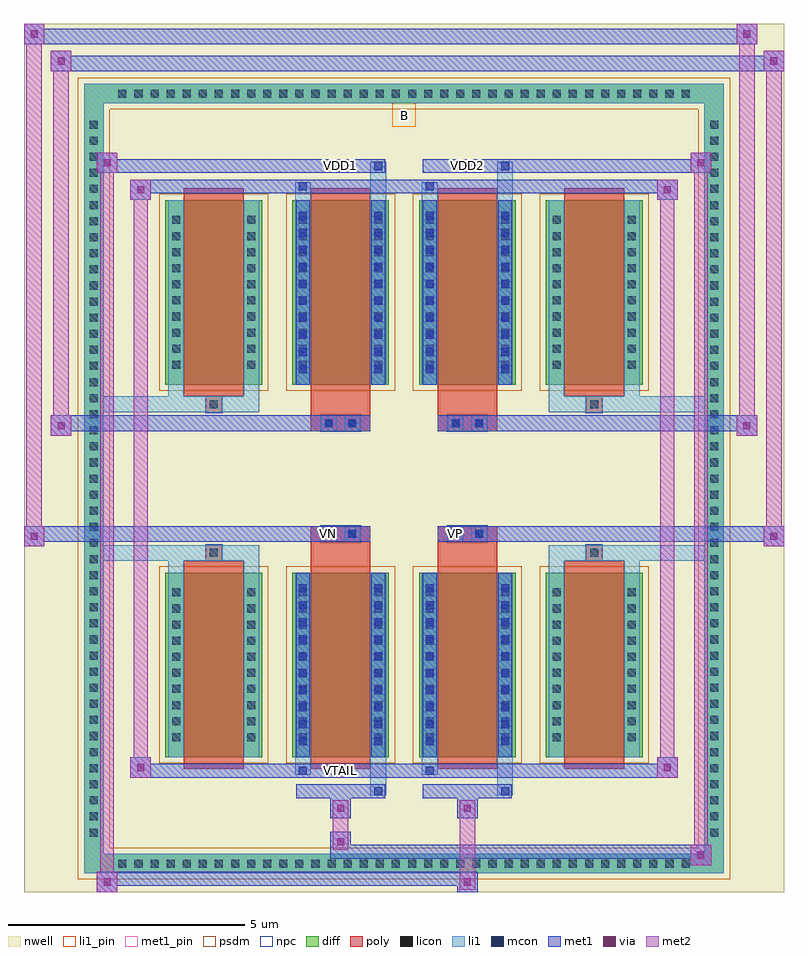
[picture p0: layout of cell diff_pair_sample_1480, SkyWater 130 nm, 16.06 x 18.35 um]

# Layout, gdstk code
import gdstk
lib = gdstk.Library(unit=1e-6, precision=5e-09)
def R(c, l, rs):  # rectangles x0, y0, x1, y1
    for r in rs: c.add(gdstk.rectangle(r[:2], r[2:], *l))
def A(c, l, x, y, w, h, nx, ny, dx, dy):  # array of equal rectangles
    R(c, l, [(x+i*dx, y+j*dy, x+i*dx+w, y+j*dy+h) for i in range(nx) for j in range(ny)])
def P(c, l, *ps):  # polygons
    for p in ps: c.add(gdstk.Polygon(p, *l))
nwell = (64, 20)
diff = (65, 20)
poly = (66, 20)
licon = (66, 44)
li1_pin = (67, 16)
li1 = (67, 20)
mcon = (67, 44)
met1_pin = (68, 16)
met1 = (68, 20)
via = (68, 44)
met2 = (69, 20)
psdm = (94, 20)
npc = (95, 20)

diff_pair_sample_1480 = lib.new_cell('diff_pair_sample_1480')
R(diff_pair_sample_1480, nwell, [(-8.03,-8.74,8.03,9.61), (-5.35,-6.93,-0.01,-0.805), (0.01,-6.93,5.35,-0.805), (-5.35,0.805,-0.01,6.93), (0.01,0.805,5.35,6.93)])
A(diff_pair_sample_1480, diff, -6.155, -8.34, 0.41, 0.41, 36, 2, 0.34, 16.27)
A(diff_pair_sample_1480, diff, -6.76, -7.685, 0.41, 0.41, 1, 45, 0, 0.34)
A(diff_pair_sample_1480, diff, 6.35, -7.685, 0.41, 0.41, 1, 45, 0, 0.34)
A(diff_pair_sample_1480, diff, -5.04, -5.885, 2.04, 3.9, 4, 2, 2.68, 7.87)
R(diff_pair_sample_1480, diff, [(-6.155,-8.34,6.155,-7.93), (-6.76,-7.685,-6.35,7.685), (6.35,-7.685,6.76,7.685), (-6.155,7.93,6.155,8.34)])
P(diff_pair_sample_1480, diff, [(6.76,8.34),(-6.76,8.34),(-6.76,-7.93),(-6.35,-7.93),(-6.35,7.93),(6.35,7.93),(6.35,-7.93),(-6.35,-7.93),(-6.76,-7.93),(-6.76,-8.34),(6.76,-8.34)])
A(diff_pair_sample_1480, poly, -4.65, -6.135, 1.26, 4.4, 4, 2, 2.68, 7.87)
R(diff_pair_sample_1480, poly, [(-4.185,-1.735,-3.855,-1.405), (-4.185,-1.735,-3.855,-1.405), (-1.97,-1.735,-0.71,-1.335), (0.71,-1.735,1.97,-1.335), (3.855,-1.735,4.185,-1.405), (3.855,-1.735,4.185,-1.405), (-1.97,-1.335,-0.71,-1.005), (-1.755,-1.335,-1.425,-1.005), (-1.255,-1.335,-0.925,-1.005), (0.71,-1.335,1.97,-1.005), (0.925,-1.335,1.255,-1.005), (1.425,-1.335,1.755,-1.005), (-1.97,1.005,-0.71,1.335), (-1.755,1.005,-1.425,1.335), (-1.255,1.005,-0.925,1.335), (0.71,1.005,1.97,1.335), (0.925,1.005,1.255,1.335), (1.425,1.005,1.755,1.335), (-1.97,1.335,-0.71,1.735), (0.71,1.335,1.97,1.735), (-4.185,1.405,-3.855,1.735), (-4.185,1.405,-3.855,1.735), (3.855,1.405,4.185,1.735), (3.855,1.405,4.185,1.735)])
A(diff_pair_sample_1480, licon, -6.035, -8.22, 0.17, 0.17, 36, 2, 0.34, 16.27)
A(diff_pair_sample_1480, licon, -6.64, -7.565, 0.17, 0.17, 1, 45, 0, 0.34)
A(diff_pair_sample_1480, licon, 6.47, -7.565, 0.17, 0.17, 1, 45, 0, 0.34)
A(diff_pair_sample_1480, licon, -4.9, -5.55, 0.17, 0.17, 1, 10, 0, 0.34)
A(diff_pair_sample_1480, licon, -3.31, -5.55, 0.17, 0.17, 1, 10, 0, 0.34)
A(diff_pair_sample_1480, licon, -2.22, -5.55, 0.17, 0.17, 1, 10, 0, 0.34)
A(diff_pair_sample_1480, licon, -0.63, -5.55, 0.17, 0.17, 1, 10, 0, 0.34)
A(diff_pair_sample_1480, licon, 0.46, -5.55, 0.17, 0.17, 1, 10, 0, 0.34)
A(diff_pair_sample_1480, licon, 2.05, -5.55, 0.17, 0.17, 1, 10, 0, 0.34)
A(diff_pair_sample_1480, licon, 3.14, -5.55, 0.17, 0.17, 1, 10, 0, 0.34)
A(diff_pair_sample_1480, licon, 4.73, -5.55, 0.17, 0.17, 1, 10, 0, 0.34)
A(diff_pair_sample_1480, licon, -4.9, 2.32, 0.17, 0.17, 1, 10, 0, 0.34)
A(diff_pair_sample_1480, licon, -3.31, 2.32, 0.17, 0.17, 1, 10, 0, 0.34)
A(diff_pair_sample_1480, licon, -2.22, 2.32, 0.17, 0.17, 1, 10, 0, 0.34)
A(diff_pair_sample_1480, licon, -0.63, 2.32, 0.17, 0.17, 1, 10, 0, 0.34)
A(diff_pair_sample_1480, licon, 0.46, 2.32, 0.17, 0.17, 1, 10, 0, 0.34)
A(diff_pair_sample_1480, licon, 2.05, 2.32, 0.17, 0.17, 1, 10, 0, 0.34)
A(diff_pair_sample_1480, licon, 3.14, 2.32, 0.17, 0.17, 1, 10, 0, 0.34)
A(diff_pair_sample_1480, licon, 4.73, 2.32, 0.17, 0.17, 1, 10, 0, 0.34)
R(diff_pair_sample_1480, licon, [(-4.105,-1.655,-3.935,-1.485), (3.935,-1.655,4.105,-1.485), (-1.675,-1.255,-1.505,-1.085), (-1.175,-1.255,-1.005,-1.085), (1.005,-1.255,1.175,-1.085), (1.505,-1.255,1.675,-1.085), (-1.675,1.085,-1.505,1.255), (-1.175,1.085,-1.005,1.255), (1.005,1.085,1.175,1.255), (1.505,1.085,1.675,1.255), (-4.105,1.485,-3.935,1.655), (3.935,1.485,4.105,1.655)])
R(diff_pair_sample_1480, li1_pin, [(-0.25,7.43,0.25,7.93)])
A(diff_pair_sample_1480, li1, -6.115, -8.3, 0.33, 0.33, 36, 2, 0.34, 16.27)
A(diff_pair_sample_1480, li1, -6.72, -7.645, 0.33, 0.33, 1, 45, 0, 0.34)
A(diff_pair_sample_1480, li1, 6.39, -7.645, 0.33, 0.33, 1, 45, 0, 0.34)
A(diff_pair_sample_1480, li1, -2.22, -5.64, 0.17, 0.17, 1, 10, 0, 0.36)
A(diff_pair_sample_1480, li1, -0.63, -5.64, 0.17, 0.17, 1, 10, 0, 0.36)
A(diff_pair_sample_1480, li1, 0.46, -5.64, 0.17, 0.17, 1, 10, 0, 0.36)
A(diff_pair_sample_1480, li1, 2.05, -5.64, 0.17, 0.17, 1, 10, 0, 0.36)
A(diff_pair_sample_1480, li1, -4.98, -5.63, 0.33, 0.33, 1, 10, 0, 0.34)
A(diff_pair_sample_1480, li1, -3.39, -5.63, 0.33, 0.33, 1, 10, 0, 0.34)
A(diff_pair_sample_1480, li1, -2.3, -5.63, 0.33, 0.33, 1, 10, 0, 0.34)
A(diff_pair_sample_1480, li1, -0.71, -5.63, 0.33, 0.33, 1, 10, 0, 0.34)
A(diff_pair_sample_1480, li1, 0.38, -5.63, 0.33, 0.33, 1, 10, 0, 0.34)
A(diff_pair_sample_1480, li1, 1.97, -5.63, 0.33, 0.33, 1, 10, 0, 0.34)
A(diff_pair_sample_1480, li1, 3.06, -5.63, 0.33, 0.33, 1, 10, 0, 0.34)
A(diff_pair_sample_1480, li1, 4.65, -5.63, 0.33, 0.33, 1, 10, 0, 0.34)
A(diff_pair_sample_1480, li1, -2.22, 2.23, 0.17, 0.17, 1, 10, 0, 0.36)
A(diff_pair_sample_1480, li1, -0.63, 2.23, 0.17, 0.17, 1, 10, 0, 0.36)
A(diff_pair_sample_1480, li1, 0.46, 2.23, 0.17, 0.17, 1, 10, 0, 0.36)
A(diff_pair_sample_1480, li1, 2.05, 2.23, 0.17, 0.17, 1, 10, 0, 0.36)
A(diff_pair_sample_1480, li1, -4.98, 2.24, 0.33, 0.33, 1, 10, 0, 0.34)
A(diff_pair_sample_1480, li1, -3.39, 2.24, 0.33, 0.33, 1, 10, 0, 0.34)
A(diff_pair_sample_1480, li1, -2.3, 2.24, 0.33, 0.33, 1, 10, 0, 0.34)
A(diff_pair_sample_1480, li1, -0.71, 2.24, 0.33, 0.33, 1, 10, 0, 0.34)
A(diff_pair_sample_1480, li1, 0.38, 2.24, 0.33, 0.33, 1, 10, 0, 0.34)
A(diff_pair_sample_1480, li1, 1.97, 2.24, 0.33, 0.33, 1, 10, 0, 0.34)
A(diff_pair_sample_1480, li1, 3.06, 2.24, 0.33, 0.33, 1, 10, 0, 0.34)
A(diff_pair_sample_1480, li1, 4.65, 2.24, 0.33, 0.33, 1, 10, 0, 0.34)
R(diff_pair_sample_1480, li1, [(-6.76,-8.34,-6.35,-7.93), (-6.76,-8.34,-6.35,-7.93), (-6.35,-8.34,6.35,-7.93), (6.35,-8.34,6.76,-7.93), (6.35,-8.34,6.76,-7.93), (-6.76,-7.93,-6.35,7.93), (6.35,-7.93,6.76,7.93), (-0.71,-6.69,-0.38,-5.885), (-0.63,-6.69,-0.46,-6.52), (1.97,-6.69,2.3,-5.885), (2.05,-6.69,2.22,-6.52), (-2.3,-6.26,-1.97,-5.885), (-2.22,-6.26,-2.05,-6.09), (0.38,-6.26,0.71,-5.885), (0.46,-6.26,0.63,-6.09), (-4.98,-5.885,-4.65,-1.985), (-3.39,-5.885,-3.06,-1.985), (-2.3,-5.885,-1.97,-1.985), (-0.71,-5.885,-0.38,-1.985), (0.38,-5.885,0.71,-1.985), (1.97,-5.885,2.3,-1.985), (3.06,-5.885,3.39,-1.985), (4.65,-5.885,4.98,-1.985), (-2.22,-5.64,-2.05,-2.23), (-0.63,-5.64,-0.46,-2.23), (0.46,-5.64,0.63,-2.23), (2.05,-5.64,2.22,-2.23), (-4.98,-1.985,-4.65,-1.405), (-3.39,-1.985,-3.06,-1.405), (3.06,-1.985,3.39,-1.405), (4.65,-1.985,4.98,-1.405), (-6.76,-1.735,-4.185,-1.405), (-4.98,-1.735,-4.185,-1.405), (-4.185,-1.735,-3.855,-1.405), (-3.855,-1.735,-3.06,-1.405), (3.06,-1.735,3.855,-1.405), (3.855,-1.735,4.185,-1.405), (3.855,-1.735,6.76,-1.405), (4.185,-1.735,4.98,-1.405), (-1.755,-1.335,-1.425,-1.005), (-1.255,-1.335,-0.925,-1.005), (0.925,-1.335,1.255,-1.005), (1.425,-1.335,1.755,-1.005), (-1.755,1.005,-1.425,1.335), (-1.255,1.005,-0.925,1.335), (0.925,1.005,1.255,1.335), (1.425,1.005,1.755,1.335), (-6.76,1.405,-4.185,1.735), (-4.98,1.405,-4.185,1.735), (-4.98,1.405,-4.65,1.985), (-4.185,1.405,-3.855,1.735), (-3.855,1.405,-3.06,1.735), (-3.39,1.405,-3.06,1.985), (3.06,1.405,3.855,1.735), (3.06,1.405,3.39,1.985), (3.855,1.405,4.185,1.735), (3.855,1.405,6.76,1.735), (4.185,1.405,4.98,1.735), (4.65,1.405,4.98,1.985), (-4.98,1.985,-4.65,5.885), (-3.39,1.985,-3.06,5.885), (-2.3,1.985,-1.97,5.885), (-0.71,1.985,-0.38,5.885), (0.38,1.985,0.71,5.885), (1.97,1.985,2.3,5.885), (3.06,1.985,3.39,5.885), (4.65,1.985,4.98,5.885), (-2.22,2.23,-2.05,5.64), (-0.63,2.23,-0.46,5.64), (0.46,2.23,0.63,5.64), (2.05,2.23,2.22,5.64), (-2.3,5.885,-1.97,6.26), (-0.71,5.885,-0.38,6.69), (0.38,5.885,0.71,6.26), (1.97,5.885,2.3,6.69), (-2.22,6.09,-2.05,6.26), (0.46,6.09,0.63,6.26), (-0.63,6.52,-0.46,6.69), (2.05,6.52,2.22,6.69), (-6.76,7.93,-6.35,8.34), (-6.76,7.93,-6.35,8.34), (-6.35,7.93,6.35,8.34), (6.35,7.93,6.76,8.34), (6.35,7.93,6.76,8.34)])
A(diff_pair_sample_1480, mcon, -2.22, -5.64, 0.17, 0.17, 1, 10, 0, 0.36)
A(diff_pair_sample_1480, mcon, -0.63, -5.64, 0.17, 0.17, 1, 10, 0, 0.36)
A(diff_pair_sample_1480, mcon, 0.46, -5.64, 0.17, 0.17, 1, 10, 0, 0.36)
A(diff_pair_sample_1480, mcon, 2.05, -5.64, 0.17, 0.17, 1, 10, 0, 0.36)
A(diff_pair_sample_1480, mcon, -2.22, 2.23, 0.17, 0.17, 1, 10, 0, 0.36)
A(diff_pair_sample_1480, mcon, -0.63, 2.23, 0.17, 0.17, 1, 10, 0, 0.36)
A(diff_pair_sample_1480, mcon, 0.46, 2.23, 0.17, 0.17, 1, 10, 0, 0.36)
A(diff_pair_sample_1480, mcon, 2.05, 2.23, 0.17, 0.17, 1, 10, 0, 0.36)
R(diff_pair_sample_1480, mcon, [(-0.63,-6.69,-0.46,-6.52), (2.05,-6.69,2.22,-6.52), (-2.22,-6.26,-2.05,-6.09), (0.46,-6.26,0.63,-6.09), (-1.675,-1.255,-1.505,-1.085), (-1.175,-1.255,-1.005,-1.085), (1.005,-1.255,1.175,-1.085), (1.505,-1.255,1.675,-1.085), (-1.675,1.085,-1.505,1.255), (-1.175,1.085,-1.005,1.255), (1.005,1.085,1.175,1.255), (1.505,1.085,1.675,1.255), (-2.22,6.09,-2.05,6.26), (0.46,6.09,0.63,6.26), (-0.63,6.52,-0.46,6.69), (2.05,6.52,2.22,6.69)])
R(diff_pair_sample_1480, met1_pin, [(-1.475,-6.3,-1.205,-6.03), (-1.725,-1.295,-1.455,-1.025), (0.955,-1.295,1.225,-1.025), (-1.475,6.48,-1.205,6.75), (1.205,6.48,1.475,6.75)])
A(diff_pair_sample_1480, met1, -2.28, -5.7, 0.29, 0.29, 1, 10, 0, 0.36)
A(diff_pair_sample_1480, met1, -0.69, -5.7, 0.29, 0.29, 1, 10, 0, 0.36)
A(diff_pair_sample_1480, met1, 0.4, -5.7, 0.29, 0.29, 1, 10, 0, 0.36)
A(diff_pair_sample_1480, met1, 1.99, -5.7, 0.29, 0.29, 1, 10, 0, 0.36)
A(diff_pair_sample_1480, met1, -2.28, 2.17, 0.29, 0.29, 1, 10, 0, 0.36)
A(diff_pair_sample_1480, met1, -0.69, 2.17, 0.29, 0.29, 1, 10, 0, 0.36)
A(diff_pair_sample_1480, met1, 0.4, 2.17, 0.29, 0.29, 1, 10, 0, 0.36)
A(diff_pair_sample_1480, met1, 1.99, 2.17, 0.29, 0.29, 1, 10, 0, 0.36)
R(diff_pair_sample_1480, met1, [(-6.49,-8.74,-6.06,-8.31), (1.125,-8.74,1.555,-8.31), (-6.49,-8.6,1.555,-8.31), (6.06,-8.17,6.49,-7.74), (-1.555,-8.03,6.49,-7.74), (-1.555,-7.89,-1.125,-7.46), (-1.555,-7.18,-1.125,-6.75), (1.125,-7.18,1.555,-6.75), (-2.28,-6.75,-0.4,-6.46), (-0.69,-6.75,-0.4,-6.46), (0.4,-6.75,2.28,-6.46), (1.99,-6.75,2.28,-6.46), (-5.78,-6.32,-5.35,-5.89), (-5.78,-6.32,-2.28,-6.03), (-2.28,-6.32,-1.99,-6.03), (-2.28,-6.32,-0.4,-6.03), (-0.4,-6.32,0.4,-6.03), (0.4,-6.32,0.69,-6.03), (0.4,-6.32,2.28,-6.03), (2.28,-6.32,5.78,-6.03), (5.35,-6.32,5.78,-5.89), (-2.28,-5.885,-1.99,-1.985), (-0.69,-5.885,-0.4,-1.985), (0.4,-5.885,0.69,-1.985), (1.99,-5.885,2.28,-1.985), (-8.03,-1.435,-7.6,-1.005), (7.6,-1.435,8.03,-1.005), (-8.03,-1.335,-0.71,-1.005), (-1.97,-1.335,-0.71,-1.005), (0.71,-1.335,1.97,-1.005), (0.71,-1.335,8.03,-1.005), (-1.735,-1.315,-1.445,-1.025), (-1.235,-1.315,-0.945,-1.025), (0.945,-1.315,1.235,-1.025), (1.445,-1.315,1.735,-1.025), (-7.46,0.905,-7.03,1.335), (7.03,0.905,7.46,1.335), (-7.46,1.005,-1.97,1.335), (-1.97,1.005,-0.71,1.335), (0.71,1.005,1.97,1.335), (1.97,1.005,7.46,1.335), (-1.735,1.025,-1.445,1.315), (-1.235,1.025,-0.945,1.315), (0.945,1.025,1.235,1.315), (1.445,1.025,1.735,1.315), (-2.28,1.985,-1.99,5.885), (-0.69,1.985,-0.4,5.885), (0.4,1.985,0.69,5.885), (1.99,1.985,2.28,5.885), (-5.78,5.89,-5.35,6.32), (5.35,5.89,5.78,6.32), (-5.78,6.03,-2.28,6.32), (-2.28,6.03,-1.99,6.32), (-2.28,6.03,-0.4,6.32), (-0.4,6.03,0.4,6.32), (0.4,6.03,0.69,6.32), (0.4,6.03,2.28,6.32), (2.28,6.03,5.78,6.32), (-6.49,6.46,-6.06,6.89), (-6.49,6.46,-2.28,6.75), (-2.28,6.46,-0.4,6.75), (-0.69,6.46,-0.4,6.75), (0.4,6.46,2.28,6.75), (1.99,6.46,2.28,6.75), (2.28,6.46,6.49,6.75), (6.06,6.46,6.49,6.89), (-7.46,8.61,-7.03,9.04), (-7.46,8.61,-5.35,8.94), (-5.35,8.61,5.35,8.94), (5.35,8.61,8.03,8.94), (7.6,8.61,8.03,9.04), (-8.03,9.18,-7.6,9.61), (-8.03,9.18,-5.35,9.51), (-5.35,9.18,5.35,9.51), (5.35,9.18,7.46,9.51), (7.03,9.18,7.46,9.61)])
R(diff_pair_sample_1480, via, [(-6.35,-8.6,-6.2,-8.45), (1.265,-8.6,1.415,-8.45), (6.2,-8.03,6.35,-7.88), (-1.415,-7.75,-1.265,-7.6), (-1.415,-7.04,-1.265,-6.89), (1.265,-7.04,1.415,-6.89), (-5.64,-6.18,-5.49,-6.03), (5.49,-6.18,5.64,-6.03), (-7.89,-1.295,-7.74,-1.145), (7.74,-1.295,7.89,-1.145), (-7.32,1.045,-7.17,1.195), (7.17,1.045,7.32,1.195), (-5.64,6.03,-5.49,6.18), (5.49,6.03,5.64,6.18), (-6.35,6.6,-6.2,6.75), (6.2,6.6,6.35,6.75), (-7.32,8.75,-7.17,8.9), (7.74,8.75,7.89,8.9), (-7.89,9.32,-7.74,9.47), (7.17,9.32,7.32,9.47)])
R(diff_pair_sample_1480, met2, [(-6.49,-8.74,-6.06,-8.31), (-6.42,-8.74,-6.13,6.89), (-6.13,-8.74,-6.06,-8.31), (-6.44,-8.69,-6.11,-8.36), (1.175,-8.69,1.505,-8.36), (1.175,-8.36,1.505,-7.13), (6.06,-8.17,6.49,-7.74), (6.13,-8.17,6.42,6.89), (6.42,-8.17,6.49,-7.74), (6.11,-8.12,6.44,-7.79), (-1.505,-7.84,-1.175,-7.51), (-1.505,-7.51,-1.175,-7.13), (-1.505,-7.13,-1.175,-6.8), (1.175,-7.13,1.505,-6.8), (-5.78,-6.32,-5.35,-5.89), (-5.71,-6.32,-5.42,6.32), (-5.42,-6.32,-5.35,-5.89), (5.35,-6.32,5.78,-5.89), (5.42,-6.32,5.71,6.32), (5.71,-6.32,5.78,-5.89), (-5.73,-6.27,-5.4,-5.94), (5.4,-6.27,5.73,-5.94), (-8.03,-1.435,-7.6,-1.005), (-7.98,-1.435,-7.65,9.61), (-7.65,-1.435,-7.6,-1.005), (7.6,-1.435,8.03,-1.005), (7.65,-1.435,7.98,9.04), (7.98,-1.435,8.03,-1.005), (-7.98,-1.385,-7.65,-1.055), (7.65,-1.385,7.98,-1.055), (-7.46,0.905,-7.03,1.335), (-7.41,0.905,-7.08,9.04), (-7.08,0.905,-7.03,1.335), (7.03,0.905,7.46,1.335), (7.08,0.905,7.41,9.61), (7.41,0.905,7.46,1.335), (-7.41,0.955,-7.08,1.285), (7.08,0.955,7.41,1.285), (-5.78,5.89,-5.35,6.32), (-5.42,5.89,-5.35,6.32), (5.35,5.89,5.78,6.32), (5.71,5.89,5.78,6.32), (-5.73,5.94,-5.4,6.27), (5.4,5.94,5.73,6.27), (-6.49,6.46,-6.06,6.89), (-6.13,6.46,-6.06,6.89), (6.06,6.46,6.49,6.89), (6.42,6.46,6.49,6.89), (-6.44,6.51,-6.11,6.84), (6.11,6.51,6.44,6.84), (-7.46,8.61,-7.03,9.04), (-7.08,8.61,-7.03,9.04), (7.6,8.61,8.03,9.04), (7.98,8.61,8.03,9.04), (-7.41,8.66,-7.08,8.99), (7.65,8.66,7.98,8.99), (-8.03,9.18,-7.6,9.61), (-7.65,9.18,-7.6,9.61), (7.03,9.18,7.46,9.61), (7.41,9.18,7.46,9.61), (-7.98,9.23,-7.65,9.56), (7.08,9.23,7.41,9.56)])
A(diff_pair_sample_1480, psdm, -5.17, -6.015, 2.3, 4.16, 4, 2, 2.68, 7.87)
P(diff_pair_sample_1480, psdm, [(6.89,8.47),(-6.89,8.47),(-6.89,-7.8),(-6.22,-7.8),(-6.22,7.8),(6.22,7.8),(6.22,-7.8),(-6.22,-7.8),(-6.89,-7.8),(-6.89,-8.47),(6.89,-8.47)])
R(diff_pair_sample_1480, npc, [(-4.205,-1.755,-3.835,-1.385), (3.835,-1.755,4.205,-1.385), (-1.775,-1.355,-1.405,-0.985), (-1.775,-1.355,-0.905,-0.985), (-1.775,-1.355,-0.905,-0.985), (-1.275,-1.355,-0.905,-0.985), (0.905,-1.355,1.275,-0.985), (0.905,-1.355,1.775,-0.985), (0.905,-1.355,1.775,-0.985), (1.405,-1.355,1.775,-0.985), (-1.775,0.985,-1.405,1.355), (-1.775,0.985,-0.905,1.355), (-1.775,0.985,-0.905,1.355), (-1.275,0.985,-0.905,1.355), (0.905,0.985,1.275,1.355), (0.905,0.985,1.775,1.355), (0.905,0.985,1.775,1.355), (1.405,0.985,1.775,1.355), (-4.205,1.385,-3.835,1.755), (3.835,1.385,4.205,1.755)])
diff_pair_sample_1480.add(gdstk.Label('VTAIL', (-1.34,-6.165), layer=68, texttype=5))
diff_pair_sample_1480.add(gdstk.Label('VN', (-1.59,-1.16), layer=68, texttype=5))
diff_pair_sample_1480.add(gdstk.Label('VP', (1.09,-1.16), layer=68, texttype=5))
diff_pair_sample_1480.add(gdstk.Label('B', (0,7.68), layer=67, texttype=5))
diff_pair_sample_1480.add(gdstk.Label('VDD2', (1.34,6.615), layer=68, texttype=5))
diff_pair_sample_1480.add(gdstk.Label('VDD1', (-1.34,6.615), layer=68, texttype=5))

lib.write_gds('diff_pair_sample_1480.gds')
